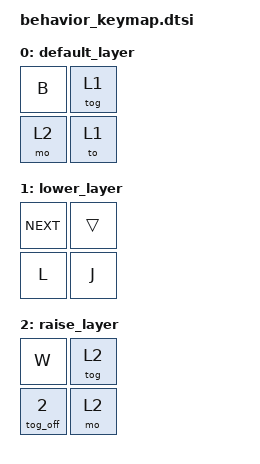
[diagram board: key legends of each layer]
#include <dt-bindings/zmk/keys.h>
#include <behaviors.dtsi>
#include <dt-bindings/zmk/kscan_mock.h>

/ {
    keymap {
        compatible = "zmk,keymap";

        default_layer {
            bindings = <
                &kp B &tog 1
                &mo 2 &to 1>;
        };

        lower_layer {
            bindings = <
                &kp C_NEXT &trans
                &kp L  &kp J>;
        };

        raise_layer {
            bindings = <
                &kp W &tog 2
                &tog_off 2  &mo 2>;
        };
    };
};
